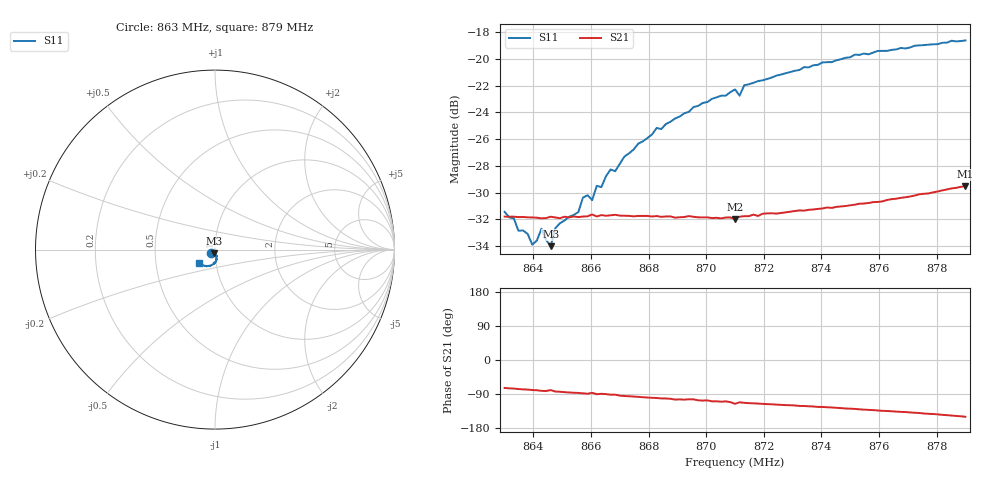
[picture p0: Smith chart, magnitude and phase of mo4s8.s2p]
# HZ S RI R 50
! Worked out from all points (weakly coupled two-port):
!   101 points, 863 MHz to 879 MHz, reference 50 ohm
!   highest |S21| = -29.52 dB at 879 MHz (marker M1); lowest = -32.0 dB at 871 MHz (marker M2)
!   lowest |S11| = -34.0 dB at 864.6 MHz (marker M3), VSWR 1.04, Z = 49.7 - j1.96 ohm
!   |S11| at or under -10 dB: start of sweep to end of sweep
!   S12 and S22 are empty: the file has one direction only
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8.63e8  -0.021 -0.0166  0.00722 -0.0247  0 0  0 0
8.6348e8  -0.0157 -0.0165  0.00591 -0.0249  0 0  0 0
8.638e8  -0.0125 -0.0182  0.00529 -0.025  0 0  0 0
8.6396e8  -0.0101 -0.0175  0.00477 -0.0251  0 0  0 0
8.6428e8  -0.00778 -0.0218  0.00376 -0.025  0 0  0 0
8.646e8  -0.00283 -0.0197  0.00475 -0.0252  0 0  0 0
8.6476e8  -0.00444 -0.0228  0.00303 -0.0253  0 0  0 0
8.6556e8  0.0012 -0.0267  0.00138 -0.0256  0 0  0 0
8.6572e8  0.00344 -0.0301  0.000952 -0.0257  0 0  0 0
8.6604e8  0.00667 -0.0289  0.00156 -0.0261  0 0  0 0
8.662e8  0.00427 -0.0332  -0.000137 -0.0257  0 0  0 0
8.6636e8  0.00754 -0.0323  0.000382 -0.026  0 0  0 0
8.6668e8  0.00806 -0.0377  -0.00072 -0.026  0 0  0 0
8.6684e8  0.011 -0.0364  -0.000658 -0.0261  0 0  0 0
8.6764e8  0.00737 -0.0476  -0.0033 -0.0256  0 0  0 0
8.6844e8  0.00872 -0.054  -0.00507 -0.0251  0 0  0 0
8.71e8  -0.00419 -0.0768  -0.0109 -0.0227  0 0  0 0
8.7116e8  -0.00762 -0.0725  -0.00944 -0.0239  0 0  0 0
8.7132e8  -0.00588 -0.0795  -0.0101 -0.0237  0 0  0 0
8.7372e8  -0.0285 -0.0903  -0.0148 -0.023  0 0  0 0
8.7644e8  -0.0607 -0.0896  -0.0213 -0.021  0 0  0 0
8.79e8  -0.0904 -0.0748  -0.0289 -0.0168  0 0  0 0
